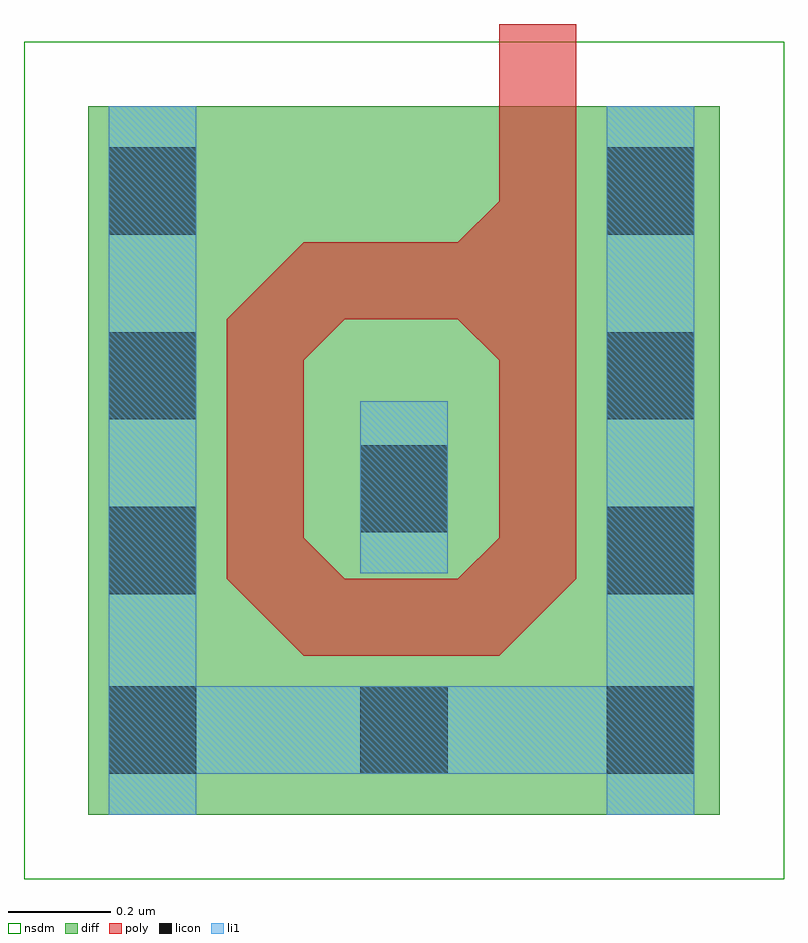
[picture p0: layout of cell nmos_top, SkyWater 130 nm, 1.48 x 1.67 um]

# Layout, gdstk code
import gdstk
lib = gdstk.Library(unit=1e-6, precision=1e-09)
def R(c, l, rs):  # rectangles x0, y0, x1, y1
    for r in rs: c.add(gdstk.rectangle(r[:2], r[2:], *l))
def P(c, l, *ps):  # polygons
    for p in ps: c.add(gdstk.Polygon(p, *l))
diff = (65, 20)
poly = (66, 20)
licon = (66, 44)
li1 = (67, 20)
nsdm = (93, 44)

nmos_top = lib.new_cell('nmos_top')
R(nmos_top, diff, [(0,0,1.23,1.38)])
R(nmos_top, poly, [(0.42,0.31,0.8,0.46), (0.27,0.46,0.42,0.965), (0.8,0.46,0.95,0.965), (0.42,0.965,0.95,1.115), (0.8,1.115,0.95,1.54)])
P(nmos_top, poly, [(0.72,1.115),(0.8,1.115),(0.8,1.195)],
  [(0.27,0.965),(0.42,0.965),(0.42,1.115)],
  [(0.42,0.885),(0.42,0.965),(0.5,0.965)],
  [(0.72,0.965),(0.8,0.965),(0.8,0.885)],
  [(0.42,0.54),(0.42,0.46),(0.5,0.46)],
  [(0.72,0.46),(0.8,0.46),(0.8,0.54)],
  [(0.27,0.46),(0.42,0.46),(0.42,0.31)],
  [(0.8,0.31),(0.8,0.46),(0.95,0.46)])
R(nmos_top, licon, [(0.04,0.08,0.21,0.25), (0.53,0.08,0.7,0.25), (1.01,0.08,1.18,0.25), (0.04,0.43,0.21,0.6), (1.01,0.43,1.18,0.6), (0.53,0.55,0.7,0.72), (0.04,0.77,0.21,0.94), (1.01,0.77,1.18,0.94), (0.04,1.13,0.21,1.3), (1.01,1.13,1.18,1.3)])
R(nmos_top, li1, [(0.04,0,0.21,0.08), (1.01,0,1.18,0.08), (0.04,0.08,1.18,0.25), (0.04,0.25,0.21,1.38), (1.01,0.25,1.18,1.38), (0.53,0.47,0.7,0.805)])
R(nmos_top, nsdm, [(-0.125,-0.125,1.355,1.505)])

lib.write_gds('nmos_top.gds')
